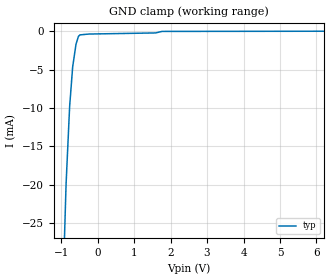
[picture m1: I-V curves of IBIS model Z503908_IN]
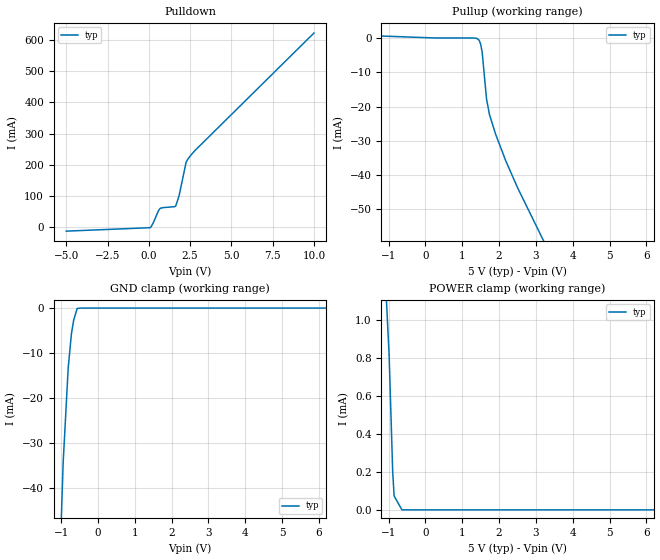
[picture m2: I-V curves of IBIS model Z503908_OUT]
| YOU ARE ONLY AUTHORIZED TO USE THIS SOFTWARE
| ACCORDING TO LICENSOR'S LICENSE RESTRICTIONS.
[IBIS Ver] 3.1
[File Name] mc54f139j.ibs
[File Rev] 2.0
[Source] Measured and created by ICX Technology
[Date] Friday 7/14/00 9:08:02 AM
[Copyright]
| (C) COPYRIGHT 1993-2000
| MENTOR GRAPHICS CORPORATION
| ICX STANDARD LIBRARY, ICX PROJECT MODELING,
| ICX CUSTOM MODELING, ICX VENDOR MODEL
| ALL RIGHTS RESERVED.
| THE FOLLOWING ARE TRADEMARKS OR SERVICE MARKS OF
| MENTOR GRAPHICS CORPORATION:ICX (R), ICX STANDARD
| LIBRARY(R), ICX PROJECT MODELING(R), ICX CUSTOM
| MODELING(R), qualityIBIS(TM), MODELVIEWER(TM),
| AND MODELEDITOR(TM)
| ALL COPIES OF SOFTWARE, INCLUDING BUT NOT LIMITED TO
| ANY MODIFICATIONS, ENHANCEMENTS OR DERIVATIVE WORKS,
| MUST CONTAIN ALL MENTOR GRAPHICS CORPORATION'S
| NOTICES AND LEGENDS, INCLUDING THOSE EMBEDDED IN
| SOFTWARE AND THOSE AFFIXED TO SOFTWARE MEDIUM
| AND CONTAINER, AS RECEIVED FROM MENTOR GRAPHICS
| CORPORATION.
|  ZAP Model Builder 2.7
[Component] MC54F139J
[Manufacturer] OnSemiconductor
[Package]
| variable   typ   min   max
R_pkg  .212ohms NA NA
L_pkg  4.758nH NA NA
C_pkg  1.944pF NA NA
[Pin] signal_name  model_name  R_pin  L_pin C_pin
1 _G Z503908_IN .224 7.258n 2.683p
2 A Z503908_IN .216 5.258n 2.19p
3 B Z503908_IN .208 3.758n 1.697p
4 _Y0 Z503908_OUT .2 2.758n 1.204p
5 _Y1 Z503908_OUT .2 2.758n 1.204p
6 _Y2 Z503908_OUT .208 3.758n 1.697p
7 _Y3 Z503908_OUT .216 5.258n 2.19p
8 GND GND .224 7.258n 2.683p
9 _Y3 Z503908_OUT .224 7.258n 2.683p
10 _Y2 Z503908_OUT .216 5.258n 2.19p
11 _Y1 Z503908_OUT .208 3.758n 1.697p
12 _Y0 Z503908_OUT .2 2.758n 1.204p
13 B Z503908_IN .2 2.758n 1.204p
14 A Z503908_IN .208 3.758n 1.697p
15 _G Z503908_IN .216 5.258n 2.19p
16 VCC POWER .224 7.258n 2.683p
| Models and submodels in the file (2): Z503908_IN (Input), Z503908_OUT (Output)
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| (C) COPYRIGHT 1993-2000
| MENTOR GRAPHICS CORPORATION
| ICX STANDARD LIBRARY, ICX PROJECT MODELING,
| ICX CUSTOM MODELING, ICX VENDOR MODEL
| ALL RIGHTS RESERVED.
| THE FOLLOWING ARE TRADEMARKS OR SERVICE MARKS OF
| MENTOR GRAPHICS CORPORATION:ICX (R), ICX STANDARD
| LIBRARY(R), ICX PROJECT MODELING(R), ICX CUSTOM
| MODELING(R), qualityIBIS(TM), MODELVIEWER(TM),
| AND MODELEDITOR(TM)
| ALL COPIES OF SOFTWARE, INCLUDING BUT NOT LIMITED TO
| ANY MODIFICATIONS, ENHANCEMENTS OR DERIVATIVE WORKS,
| MUST CONTAIN ALL MENTOR GRAPHICS CORPORATION'S
| NOTICES AND LEGENDS, INCLUDING THOSE EMBEDDED IN
| SOFTWARE AND THOSE AFFIXED TO SOFTWARE MEDIUM
| AND CONTAINER, AS RECEIVED FROM MENTOR GRAPHICS
| CORPORATION.
| Model Application Version 1.89 2/18/99.
[Model] Z503908_IN
Model_type Input
Vinl = 800.0mV
Vinh = 2.000V
C_comp 4.000pF NA NA
| variable typ   min   max
[Voltage Range] 5.000V NA NA
[GND Clamp Reference] 0.000V NA NA
[POWER Clamp Reference] 5.000V NA NA
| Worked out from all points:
|   GND clamp passes 1 mA (typ) near -0.55 V on its own axis
[GND Clamp]
-5V       -681.6mA   NA         NA
-864.1mV  -19.95mA   NA         NA
-766.6mV  -9.819mA   NA         NA
-683.4mV  -4.635mA   NA         NA
-591mV    -1.643mA   NA         NA
-524.5mV  -644.4uA   NA         NA
-482.4mV  -453uA     NA         NA
-241.2mV  -344.5uA   NA         NA
1.589V    -198.5uA   NA         NA
1.763V    470.9nA    NA         NA
10V       44.33uA    NA         NA
[POWER Clamp]
-5V       0A         NA         NA
10V       0A         NA         NA
| (C) COPYRIGHT 1993-2000
| MENTOR GRAPHICS CORPORATION
| ICX STANDARD LIBRARY, ICX PROJECT MODELING,
| ICX CUSTOM MODELING, ICX VENDOR MODEL
| ALL RIGHTS RESERVED.
| THE FOLLOWING ARE TRADEMARKS OR SERVICE MARKS OF
| MENTOR GRAPHICS CORPORATION:ICX (R), ICX STANDARD
| LIBRARY(R), ICX PROJECT MODELING(R), ICX CUSTOM
| MODELING(R), qualityIBIS(TM), MODELVIEWER(TM),
| AND MODELEDITOR(TM)
| ALL COPIES OF SOFTWARE, INCLUDING BUT NOT LIMITED TO
| ANY MODIFICATIONS, ENHANCEMENTS OR DERIVATIVE WORKS,
| MUST CONTAIN ALL MENTOR GRAPHICS CORPORATION'S
| NOTICES AND LEGENDS, INCLUDING THOSE EMBEDDED IN
| SOFTWARE AND THOSE AFFIXED TO SOFTWARE MEDIUM
| AND CONTAINER, AS RECEIVED FROM MENTOR GRAPHICS
| CORPORATION.
| Model Application Version 1.89 2/18/99.
[Model] Z503908_OUT
Model_type Output
Vref=0.000V
Rref=500.0ohms
Cref=50.00pF
Vmeas=1.500V
C_comp 8.000pF NA NA
| variable typ   min   max
[Voltage Range] 5.000V NA NA
[POWER Clamp Reference] 5.000V NA NA
[Pullup Reference] 5.000V NA NA
[Pulldown Reference] 0.000V NA NA
[GND Clamp Reference] 0.000V NA NA
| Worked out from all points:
|   slope of the pulldown table from 0 to 0.75 V, typ, clamps not added: 11.9 ohm
|   slope of the pullup table from 0 to 0.75 V, typ, clamps not added: 7.25 kohm
|   GND clamp passes 1 mA (typ) near -0.60 V on its own axis
|   POWER clamp passes 1 mA (typ) near -1.03 V on its own axis
[GND Clamp]
-5V       -1.808A    NA         NA
-1.171V   -101.6mA   NA         NA
-1.073V   -66.27mA   NA         NA
-947.2mV  -34.5mA    NA         NA
-810.5mV  -13.42mA   NA         NA
-720.9mV  -5.612mA   NA         NA
-659.4mV  -2.634mA   NA         NA
-566.4mV  -79.69uA   NA         NA
-453.1mV  0A         NA         NA
10V       0A         NA         NA
[Pulldown]
-5V       -11.87mA   NA         NA
29.56mV   -955uA     NA         NA
131.5mV   1.339mA    NA         NA
273.4mV   14.86mA    NA         NA
571.8mV   51.88mA    NA         NA
703.1mV   61.34mA    NA         NA
1.631V    68.73mA    NA         NA
1.834V    101.5mA    NA         NA
2.257V    208mA      NA         NA
2.549V    231.4mA    NA         NA
10V       621.9mA    NA         NA
[Pullup]
-5V       2.124mA    NA         NA
264.3mV   64.93uA    NA         NA
1.382V    -20.01uA   NA         NA
1.46V     -634.1uA   NA         NA
1.499V    -1.698mA   NA         NA
1.54V     -4.018mA   NA         NA
1.66V     -17.82mA   NA         NA
1.738V    -22.25mA   NA         NA
1.907V    -28.09mA   NA         NA
2.181V    -35.83mA   NA         NA
2.509V    -43.85mA   NA         NA
10V       -208.4mA   NA         NA
[POWER Clamp]
-5V       18.14mA    NA         NA
-1.343V   2.976mA    NA         NA
-1.229V   2.118mA    NA         NA
-1.184V   1.916mA    NA         NA
-1.069V   1.144mA    NA         NA
-986mV    817uA      NA         NA
-889mV    202.6uA    NA         NA
-850mV    73.07uA    NA         NA
-637.5mV  0A         NA         NA
10V       0A         NA         NA
[Ramp]
| variable typ min max
dV/dt_r 2.007/2.700n NA NA
dV/dt_f 2.007/2.541n NA NA
R_load = 500.0Ohms
